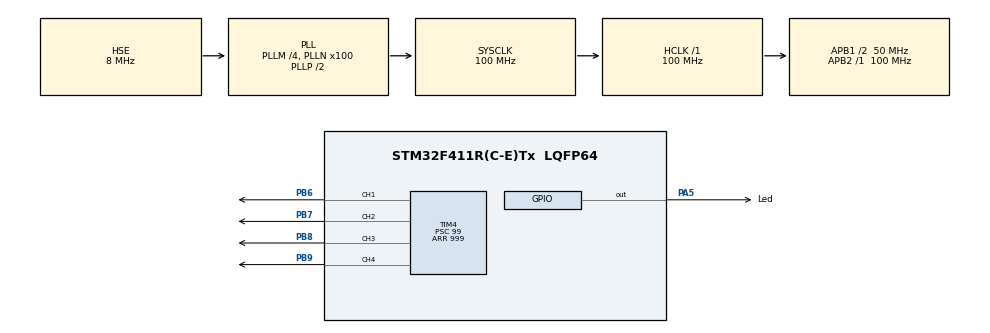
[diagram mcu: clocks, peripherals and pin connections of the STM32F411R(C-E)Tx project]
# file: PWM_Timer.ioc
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Mcu.Family=STM32F4
Mcu.Name=STM32F411R(C-E)Tx
Mcu.Package=LQFP64
NVIC.PriorityGroup=NVIC_PRIORITYGROUP_4
NVIC.TIM2_IRQn=true\:0\:0\:false\:false\:true\:true\:true\:true
PA5.GPIO_Label=Led
PA5.Signal=GPIO_Output
PB6.Signal=S_TIM4_CH1
PB7.Signal=S_TIM4_CH2
PB8.Signal=S_TIM4_CH3
PB9.Signal=S_TIM4_CH4
PH0\ -\ OSC_IN.Mode=HSE-External-Oscillator
PH0\ -\ OSC_IN.Signal=RCC_OSC_IN
PH1\ -\ OSC_OUT.Mode=HSE-External-Oscillator
PH1\ -\ OSC_OUT.Signal=RCC_OSC_OUT
ProjectManager.HeapSize=0x200
ProjectManager.StackSize=0x400
ProjectManager.TargetToolchain=STM32CubeIDE
RCC.48MHZClocksFreq_Value=50000000
RCC.AHBFreq_Value=100000000
RCC.APB1CLKDivider=RCC_HCLK_DIV2
RCC.APB1Freq_Value=50000000
RCC.APB1TimFreq_Value=100000000
RCC.APB2Freq_Value=100000000
RCC.APB2TimFreq_Value=100000000
RCC.CortexFreq_Value=100000000
RCC.HCLKFreq_Value=100000000
RCC.HSE_VALUE=8000000
RCC.HSI_VALUE=16000000
RCC.LSE_VALUE=32768
RCC.PLLM=4
RCC.PLLN=100
RCC.PLLSourceVirtual=RCC_PLLSOURCE_HSE
RCC.SYSCLKFreq_VALUE=100000000
RCC.SYSCLKSource=RCC_SYSCLKSOURCE_PLLCLK
RCC.VCOOutputFreq_Value=200000000
SH.S_TIM4_CH1.0=TIM4_CH1,PWM Generation1 CH1
SH.S_TIM4_CH2.0=TIM4_CH2,PWM Generation2 CH2
SH.S_TIM4_CH3.0=TIM4_CH3,PWM Generation3 CH3
SH.S_TIM4_CH4.0=TIM4_CH4,PWM Generation4 CH4
TIM2.Period=999
TIM2.Prescaler=199
TIM4.Channel-PWM\ Generation1\ CH1=TIM_CHANNEL_1
TIM4.Channel-PWM\ Generation2\ CH2=TIM_CHANNEL_2
TIM4.Channel-PWM\ Generation3\ CH3=TIM_CHANNEL_3
TIM4.Channel-PWM\ Generation4\ CH4=TIM_CHANNEL_4
TIM4.Period=999
TIM4.Prescaler=99
TIM4.Pulse-PWM\ Generation1\ CH1=99
TIM4.Pulse-PWM\ Generation2\ CH2=399
TIM4.Pulse-PWM\ Generation3\ CH3=699
TIM4.Pulse-PWM\ Generation4\ CH4=999
VP_TIM2_VS_ClockSourceINT.Mode=Internal
VP_TIM4_VS_ClockSourceINT.Mode=Internal
board=custom

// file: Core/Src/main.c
/* USER CODE BEGIN Header */
/**
  ******************************************************************************
  * @file           : main.c
  * @brief          : Main program body
  ******************************************************************************
  * @attention
  *
  * Copyright (c) 2023 STMicroelectronics.
  * All rights reserved.
  *
  * This software is licensed under terms that can be found in the LICENSE file
  * in the root directory of this software component.
  * If no LICENSE file comes with this software, it is provided AS-IS.
  *
  ******************************************************************************
  */
/* USER CODE END Header */
#include "main.h"

/* USER CODE BEGIN Includes */
#include "timer_pwm.h"
/* USER CODE END Includes */

TIM_HandleTypeDef htim2;
TIM_HandleTypeDef htim4;

void SystemClock_Config(void);
static void MX_GPIO_Init(void);
static void MX_TIM4_Init(void);
static void MX_TIM2_Init(void);

/* USER CODE BEGIN 0 */
//void HAL_TIM_PeriodElapsedCallback(TIM_HandleTypeDef *htim)
//{
//	if(htim->Instance == TIM2)
//		HAL_GPIO_TogglePin(Led_GPIO_Port, Led_Pin);
//}
/* USER CODE END 0 */

int main(void)
{

  /* MCU Configuration--------------------------------------------------------*/

  /* Reset of all peripherals, Initializes the Flash interface and the Systick. */
  HAL_Init();

  /* USER CODE BEGIN Init */
uint8_t var1 = 0;
uint8_t var2 = 25;
uint8_t var3 = 50;
uint8_t var4 = 75;

  /* USER CODE END Init */

  /* Configure the system clock */
  SystemClock_Config();

  /* Initialize all configured peripherals */
  MX_GPIO_Init();
  MX_TIM4_Init();
  MX_TIM2_Init();
  /* USER CODE BEGIN 2 */

  HAL_TIM_Base_Start_IT(&htim2);

  PWM_Start (&htim4, CH1);
  PWM_Start (&htim4, CH2);
  PWM_Start (&htim4, CH3);
  PWM_Start (&htim4, CH4);

  /* USER CODE END 2 */

  /* Infinite loop */
  while (1)
  {

    /* USER CODE BEGIN 3 */
	PWM_Write(&htim4, CH1, var1);
	PWM_Write(&htim4, CH2, var2);
	PWM_Write(&htim4, CH3, var3);
	PWM_Write(&htim4, CH4, var4);

	//HAL_Delay(30);

	var1++;
	var2++;
	var3++;
	var4++;

	if(var1==100) var1=0;
	if(var2==100) var2=0;
	if(var3==100) var3=0;
	if(var4==100) var4=0;

	HAL_Delay(30);
  }
  /* USER CODE END 3 */
}

void SystemClock_Config(void)
{
  RCC_OscInitTypeDef RCC_OscInitStruct = {0};
  RCC_ClkInitTypeDef RCC_ClkInitStruct = {0};

  /** Configure the main internal regulator output voltage
  */
  __HAL_RCC_PWR_CLK_ENABLE();
  __HAL_PWR_VOLTAGESCALING_CONFIG(PWR_REGULATOR_VOLTAGE_SCALE1);

  /** Initializes the RCC Oscillators according to the specified parameters
  * in the RCC_OscInitTypeDef structure.
  */
  RCC_OscInitStruct.OscillatorType = RCC_OSCILLATORTYPE_HSE;
  RCC_OscInitStruct.HSEState = RCC_HSE_ON;
  RCC_OscInitStruct.PLL.PLLState = RCC_PLL_ON;
  RCC_OscInitStruct.PLL.PLLSource = RCC_PLLSOURCE_HSE;
  RCC_OscInitStruct.PLL.PLLM = 4;
  RCC_OscInitStruct.PLL.PLLN = 100;
  RCC_OscInitStruct.PLL.PLLP = RCC_PLLP_DIV2;
  RCC_OscInitStruct.PLL.PLLQ = 4;
  if (HAL_RCC_OscConfig(&RCC_OscInitStruct) != HAL_OK)
  {
    Error_Handler();
  }

  /** Initializes the CPU, AHB and APB buses clocks
  */
  RCC_ClkInitStruct.ClockType = RCC_CLOCKTYPE_HCLK|RCC_CLOCKTYPE_SYSCLK
                              |RCC_CLOCKTYPE_PCLK1|RCC_CLOCKTYPE_PCLK2;
  RCC_ClkInitStruct.SYSCLKSource = RCC_SYSCLKSOURCE_PLLCLK;
  RCC_ClkInitStruct.AHBCLKDivider = RCC_SYSCLK_DIV1;
  RCC_ClkInitStruct.APB1CLKDivider = RCC_HCLK_DIV2;
  RCC_ClkInitStruct.APB2CLKDivider = RCC_HCLK_DIV1;

  if (HAL_RCC_ClockConfig(&RCC_ClkInitStruct, FLASH_LATENCY_3) != HAL_OK)
  {
    Error_Handler();
  }
}

static void MX_TIM2_Init(void)
{

  TIM_ClockConfigTypeDef sClockSourceConfig = {0};
  TIM_MasterConfigTypeDef sMasterConfig = {0};

  htim2.Instance = TIM2;
  htim2.Init.Prescaler = 10000;
  htim2.Init.CounterMode = TIM_COUNTERMODE_UP;
  htim2.Init.Period = 4999;
  htim2.Init.ClockDivision = TIM_CLOCKDIVISION_DIV1;
  htim2.Init.AutoReloadPreload = TIM_AUTORELOAD_PRELOAD_DISABLE;
  if (HAL_TIM_Base_Init(&htim2) != HAL_OK)
  {
    Error_Handler();
  }
  sClockSourceConfig.ClockSource = TIM_CLOCKSOURCE_INTERNAL;
  if (HAL_TIM_ConfigClockSource(&htim2, &sClockSourceConfig) != HAL_OK)
  {
    Error_Handler();
  }
  sMasterConfig.MasterOutputTrigger = TIM_TRGO_RESET;
  sMasterConfig.MasterSlaveMode = TIM_MASTERSLAVEMODE_DISABLE;
  if (HAL_TIMEx_MasterConfigSynchronization(&htim2, &sMasterConfig) != HAL_OK)
  {
    Error_Handler();
  }

}

static void MX_TIM4_Init(void)
{

  TIM_ClockConfigTypeDef sClockSourceConfig = {0};
  TIM_MasterConfigTypeDef sMasterConfig = {0};
  TIM_OC_InitTypeDef sConfigOC = {0};

  htim4.Instance = TIM4;
  htim4.Init.Prescaler = 99;
  htim4.Init.CounterMode = TIM_COUNTERMODE_UP;
  htim4.Init.Period = 499;
  htim4.Init.ClockDivision = TIM_CLOCKDIVISION_DIV1;
  htim4.Init.AutoReloadPreload = TIM_AUTORELOAD_PRELOAD_DISABLE;
  if (HAL_TIM_Base_Init(&htim4) != HAL_OK)
  {
    Error_Handler();
  }
  sClockSourceConfig.ClockSource = TIM_CLOCKSOURCE_INTERNAL;
  if (HAL_TIM_ConfigClockSource(&htim4, &sClockSourceConfig) != HAL_OK)
  {
    Error_Handler();
  }
  if (HAL_TIM_PWM_Init(&htim4) != HAL_OK)
  {
    Error_Handler();
  }
  sMasterConfig.MasterOutputTrigger = TIM_TRGO_RESET;
  sMasterConfig.MasterSlaveMode = TIM_MASTERSLAVEMODE_DISABLE;
  if (HAL_TIMEx_MasterConfigSynchronization(&htim4, &sMasterConfig) != HAL_OK)
  {
    Error_Handler();
  }
  sConfigOC.OCMode = TIM_OCMODE_PWM1;
  sConfigOC.Pulse = 0;
  sConfigOC.OCPolarity = TIM_OCPOLARITY_HIGH;
  sConfigOC.OCFastMode = TIM_OCFAST_DISABLE;
  if (HAL_TIM_PWM_ConfigChannel(&htim4, &sConfigOC, TIM_CHANNEL_1) != HAL_OK)
  {
    Error_Handler();
  }
  sConfigOC.Pulse = 0;
  if (HAL_TIM_PWM_ConfigChannel(&htim4, &sConfigOC, TIM_CHANNEL_2) != HAL_OK)
  {
    Error_Handler();
  }
  sConfigOC.Pulse = 0;
  if (HAL_TIM_PWM_ConfigChannel(&htim4, &sConfigOC, TIM_CHANNEL_3) != HAL_OK)
  {
    Error_Handler();
  }
  sConfigOC.Pulse = 0;
  if (HAL_TIM_PWM_ConfigChannel(&htim4, &sConfigOC, TIM_CHANNEL_4) != HAL_OK)
  {
    Error_Handler();
  }
  HAL_TIM_MspPostInit(&htim4);

}

static void MX_GPIO_Init(void)
{
  GPIO_InitTypeDef GPIO_InitStruct = {0};

  /* GPIO Ports Clock Enable */
  __HAL_RCC_GPIOH_CLK_ENABLE();
  __HAL_RCC_GPIOA_CLK_ENABLE();
  __HAL_RCC_GPIOB_CLK_ENABLE();

  /*Configure GPIO pin Output Level */
  HAL_GPIO_WritePin(Led_GPIO_Port, Led_Pin, GPIO_PIN_RESET);

  /*Configure GPIO pin : Led_Pin */
  GPIO_InitStruct.Pin = Led_Pin;
  GPIO_InitStruct.Mode = GPIO_MODE_OUTPUT_PP;
  GPIO_InitStruct.Pull = GPIO_NOPULL;
  GPIO_InitStruct.Speed = GPIO_SPEED_FREQ_LOW;
  HAL_GPIO_Init(Led_GPIO_Port, &GPIO_InitStruct);

}

void Error_Handler(void)
{
  __disable_irq();
  while (1)
  {
  }
}
